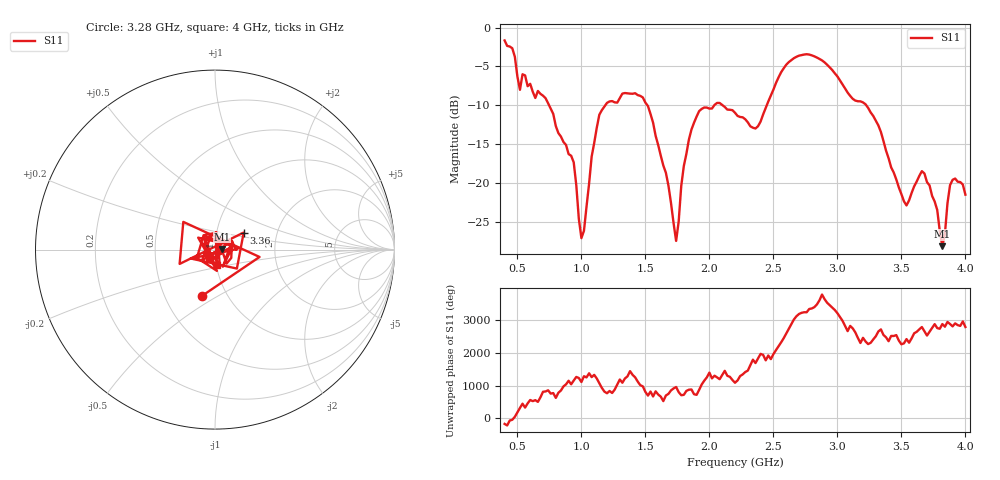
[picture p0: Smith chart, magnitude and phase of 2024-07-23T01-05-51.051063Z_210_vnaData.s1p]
!Created with skrf (http://scikit-rf.org).
# Hz S RI R 50.0
!freq ReS11 ImS11
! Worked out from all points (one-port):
!   181 points, 400 MHz to 4 GHz, reference 50 ohm
!   lowest |S11| = -28.1 dB at 3.82 GHz (marker M1), VSWR 1.08, Z = 54.1 + j0.417 ohm
!   |S11| at or under -10 dB: 747.1 MHz to 1.187 GHz (440 MHz wide, 45.5 % of centre); 1.515 GHz to 2.038 GHz (523.3 MHz wide, 29.5 % of centre); 3.225 GHz to end of sweep (the widest 3 of 4)
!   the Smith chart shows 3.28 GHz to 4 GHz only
!   S11 on the Smith chart (normalised r, x): 3.28 GHz: 0.76, -0.42; 3.36 GHz: 1.35, +0.27; 4 GHz: 1.00, -0.17
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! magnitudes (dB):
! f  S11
! 400 MHz  -1.7
! 460 MHz  -2.7
! 520 MHz  -8.0
! 540 MHz  -6.0
! 720 MHz  -9.1
! 860 MHz  -14.7
! 940 MHz  -17.4
! 1 GHz  -27.1
! 1.14 GHz  -11.2
! 1.3 GHz  -9.1
! 1.52 GHz  -10.1
! 1.66 GHz  -18.7
! 1.74 GHz  -27.5
! 1.76 GHz  -25.0
! 1.8 GHz  -17.8
! 1.92 GHz  -10.8
! 2.2 GHz  -11.0
! 2.38 GHz  -12.7
! 2.66 GHz  -3.9
! 2.88 GHz  -4.2
! 3.1 GHz  -8.8
! 3.28 GHz  -11.4
! 3.36 GHz  -14.6
! 3.56 GHz  -22.2
! 3.68 GHz  -18.8
! 3.82 GHz  -28.1
! 3.88 GHz  -20.3
! 4 GHz  -21.5
